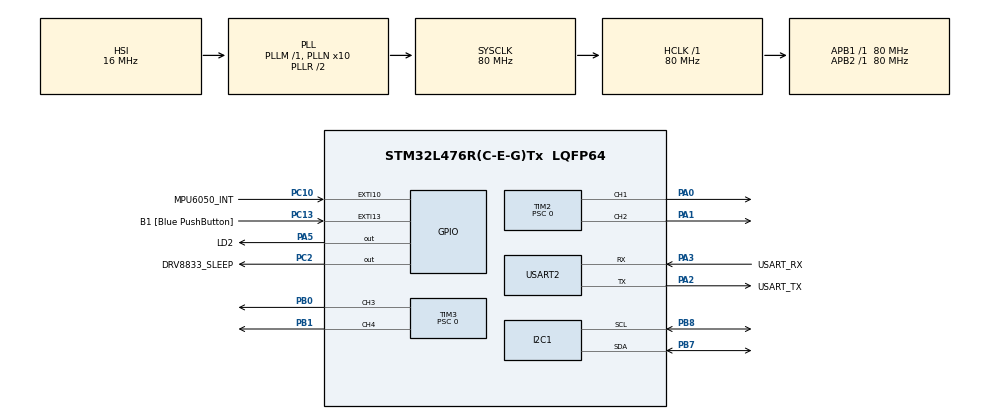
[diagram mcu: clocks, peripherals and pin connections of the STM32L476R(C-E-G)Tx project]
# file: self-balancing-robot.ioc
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FREERTOS.BinarySemaphores01=imuDataReadySem,Dynamic,NULL,Depleted;uartDataReady,Dynamic,NULL,Depleted
FREERTOS.Mutexes01=imuDataMutex,Dynamic,NULL,Available
FREERTOS.Queues01=uartRxQueue,8,uint8_t,0,Dynamic,NULL,NULL
FREERTOS.Tasks01=defaultTask,24,128,StartDefaultTask,Default,NULL,Dynamic,NULL,NULL;imuReadTask,40,512,startIMUReadTask,Default,NULL,Dynamic,NULL,NULL;balanceTask,40,512,selfBalanceTask,Default,NULL,Dynamic,NULL,NULL;coefficientPoll,24,512,coefficientPollingTask,Default,NULL,Dynamic,NULL,NULL
FREERTOS.configCHECK_FOR_STACK_OVERFLOW=2
FREERTOS.configTOTAL_HEAP_SIZE=10240
FREERTOS.configUSE_MALLOC_FAILED_HOOK=1
FREERTOS.configUSE_NEWLIB_REENTRANT=1
I2C1.Timing=0x10D19CE4
Mcu.Family=STM32L4
Mcu.Name=STM32L476R(C-E-G)Tx
Mcu.Package=LQFP64
NVIC.EXTI15_10_IRQn=true\:5\:0\:false\:false\:true\:true\:true\:true\:true
NVIC.PriorityGroup=NVIC_PRIORITYGROUP_4
NVIC.TIM1_UP_TIM16_IRQn=true\:15\:0\:false\:false\:true\:false\:false\:true\:true
NVIC.TimeBase=TIM1_UP_TIM16_IRQn
NVIC.TimeBaseIP=TIM1
NVIC.USART2_IRQn=true\:5\:0\:true\:false\:true\:true\:true\:true\:true
PA0.Signal=S_TIM2_CH1
PA1.Signal=S_TIM2_CH2
PA13\ (JTMS-SWDIO).GPIO_Label=TMS
PA13\ (JTMS-SWDIO).Mode=Serial_Wire
PA13\ (JTMS-SWDIO).Signal=SYS_JTMS-SWDIO
PA14\ (JTCK-SWCLK).GPIO_Label=TCK
PA14\ (JTCK-SWCLK).Mode=Serial_Wire
PA14\ (JTCK-SWCLK).Signal=SYS_JTCK-SWCLK
PA2.GPIO_Label=USART_TX
PA2.GPIO_Mode=GPIO_MODE_AF_PP
PA2.GPIO_PuPd=GPIO_NOPULL
PA2.GPIO_Speed=GPIO_SPEED_FREQ_VERY_HIGH
PA2.Mode=Asynchronous
PA2.Signal=USART2_TX
PA3.GPIO_Label=USART_RX
PA3.GPIO_Mode=GPIO_MODE_AF_PP
PA3.GPIO_PuPd=GPIO_NOPULL
PA3.GPIO_Speed=GPIO_SPEED_FREQ_VERY_HIGH
PA3.Mode=Asynchronous
PA3.Signal=USART2_RX
PA5.GPIO_Label=LD2
PA5.Signal=GPIO_Output
PB0.Signal=S_TIM3_CH3
PB1.Signal=S_TIM3_CH4
PB3\ (JTDO-TRACESWO).GPIO_Label=SWO
PB3\ (JTDO-TRACESWO).Signal=SYS_JTDO-SWO
PB7.GPIO_Pu=GPIO_NOPULL
PB7.GPIO_Speed=GPIO_SPEED_FREQ_MEDIUM
PB7.Mode=I2C
PB7.Signal=I2C1_SDA
PB8.GPIO_Pu=GPIO_NOPULL
PB8.GPIO_Speed=GPIO_SPEED_FREQ_MEDIUM
PB8.Mode=I2C
PB8.Signal=I2C1_SCL
PC10.GPIO_Label=MPU6050_INT
PC10.GPIO_PuPd=GPIO_PULLDOWN
PC10.Signal=GPXTI10
PC13.GPIO_Label=B1 [Blue PushButton]
PC13.GPIO_ModeDefaultEXTI=GPIO_MODE_IT_FALLING
PC13.GPIO_PuPd=GPIO_NOPULL
PC13.Signal=GPXTI13
PC14-OSC32_IN\ (PC14).Mode=LSE-External-Oscillator
PC14-OSC32_IN\ (PC14).Signal=RCC_OSC32_IN
PC15-OSC32_OUT\ (PC15).Mode=LSE-External-Oscillator
PC15-OSC32_OUT\ (PC15).Signal=RCC_OSC32_OUT
PC2.GPIO_Label=DRV8833_SLEEP
PC2.GPIO_PuPd=GPIO_PULLDOWN
PC2.PinState=GPIO_PIN_RESET
PC2.Signal=GPIO_Output
PH0-OSC_IN\ (PH0).Signal=RCC_OSC_IN
PH1-OSC_OUT\ (PH1).Signal=RCC_OSC_OUT
ProjectManager.HeapSize=0x200
ProjectManager.StackSize=0x400
ProjectManager.TargetToolchain=STM32CubeIDE
RCC.ADCFreq_Value=64000000
RCC.AHBFreq_Value=80000000
RCC.APB1Freq_Value=80000000
RCC.APB1TimFreq_Value=80000000
RCC.APB2Freq_Value=80000000
RCC.APB2TimFreq_Value=80000000
RCC.CortexFreq_Value=80000000
RCC.HCLKFreq_Value=80000000
RCC.HSE_VALUE=8000000
RCC.HSI_VALUE=16000000
RCC.MSI_VALUE=4000000
RCC.PLLN=10
RCC.PLLSourceVirtual=RCC_PLLSOURCE_HSI
RCC.PREFETCH_ENABLE=1
RCC.SYSCLKFreq_VALUE=80000000
RCC.SYSCLKSource=RCC_SYSCLKSOURCE_PLLCLK
RCC.USBFreq_Value=64000000
RCC.VCOOutputFreq_Value=160000000
SH.S_TIM2_CH1.0=TIM2_CH1,PWM Generation1 CH1
SH.S_TIM2_CH2.0=TIM2_CH2,PWM Generation2 CH2
SH.S_TIM3_CH3.0=TIM3_CH3,PWM Generation3 CH3
SH.S_TIM3_CH4.0=TIM3_CH4,PWM Generation4 CH4
TIM2.Channel-PWM\ Generation1\ CH1=TIM_CHANNEL_1
TIM2.Channel-PWM\ Generation2\ CH2=TIM_CHANNEL_2
TIM2.Period=3999
TIM2.Prescaler=0
TIM3.Channel-PWM\ Generation3\ CH3=TIM_CHANNEL_3
TIM3.Channel-PWM\ Generation4\ CH4=TIM_CHANNEL_4
TIM3.Period=3999
TIM3.Prescaler=0
USART2.VirtualMode-Asynchronous=VM_ASYNC
VP_FREERTOS_VS_CMSIS_V2.Mode=CMSIS_V2
VP_SYS_VS_tim1.Mode=TIM1
VP_TIM2_VS_ClockSourceINT.Mode=Internal
VP_TIM3_VS_ClockSourceINT.Mode=Internal
board=NUCLEO-L476RG

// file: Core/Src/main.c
/* USER CODE BEGIN Header */
/**
 ******************************************************************************
 * @file           : main.c
 * @brief          : Main program body
 ******************************************************************************
 * @attention
 *
 * Copyright (c) 2025 STMicroelectronics.
 * All rights reserved.
 *
 * This software is licensed under terms that can be found in the LICENSE file
 * in the root directory of this software component.
 * If no LICENSE file comes with this software, it is provided AS-IS.
 *
 * @desc This is a program designed to balance a 2-wheeled robot using a STM32
 * Nucelo board. FreeRTOS is leveraged to efficiently balance the robot by
 * splitting up the tasks into the proirities that follow.
 *
 * HIGH_PIORITY:
 * 	imuDataReadTask: This task is used to read gyroscope and accelerom-
 * 	-meter data in from the MPU6050. This data is then converted into
 * 	proper units, and then combined using a complementary filter for
 * 	reliable and accurate data.
 *
 *	selfBalanceTask: This task uses a PID control loop to convert the
 *	IMU data into a output that will drive the motors. There are three
 *	coefficients that can be used to tweak each subsection of the control
 *	loop function.
 ******************************************************************************
 */

/* USER CODE END Header */
#include "main.h"
#include "cmsis_os.h"

/* USER CODE BEGIN Includes */
#include <stdio.h>
#include <stdlib.h>
#include <string.h>
#include <math.h>
#include <inttypes.h>
#include "queue.h"
/* USER CODE END Includes */

/* USER CODE BEGIN PTD */
typedef struct {
	float accel_pitch;	// holds the accelerometer's derrived pitch
	float gyro_pitch;	// holds the gyroscope's integrated pitch
	float comp_pitch;	// holds the complementary filter's computed pitch
} Pitch_t;

typedef struct {
	TIM_HandleTypeDef *htim;	// pointer to the motor's timer handler struct
	uint8_t channels[2];		// holds both motor's pwm channels
} Motor_t;

typedef enum {
	COMPLETE_SUCCESS = 0,
	IMU_CONFIG_FAILED_WAKE = -100,
	IMU_CONFIG_FAILED_PWR_MGMT_2_READ = -101,
	IMU_CONFIG_FAILED_PWR_MGMT_2_WRITE = -102,
	IMU_CONFIG_FAILED_INTERRUPT_ENABLE = -103,
} Error_code_t;
/* USER CODE END PTD */

/* USER CODE BEGIN PD */
#define I2C_TRIALS 5						// number of attempts to check device readiness
#define MPU6050_Addr (0x68 << 1)			// address of the mpu6050 on the I2C line
#define MPU6050_WAKE 0x00					// mask used to wake the mpu6050 from sleep
#define PWR_MGMT_1_Addr 0x6B				// address of the first power management register of the mpu6050
#define PWR_MGMT_2_Addr 0x6C				// address of the first power management register of the mpu6050
#define INT_ENABLE_Addr 0x38				// address for imu registers that allows enabling of the interrupt pin
#define STANDBY_ACCEL_Y_AXIS (1UL << 4) 	// mask for accelerometer y-axis standby mode bit
#define STANDBY_GYRO_X_AXIS (1UL << 2) 		// mask for gyroscope x-axis standby mode bit
#define STANDBY_GYRO_Z_AXIS (1UL << 0)  	// mask for gyroscope z-axis standby mode bit
#define MPU6050_DATA_READY_Enable 0x01		// ???
#define ACCEL_XOUT_H_Addr 0x3B				// address of the high byte for accelerometer x-axis output
#define ACCEL_XOUT_L_Addr 0x3C				// address of the low byte for accelerometer x-axis output
#define ACCEL_ZOUT_H_Addr 0x3F				// address of the high byte for accelerometer z-axis output
#define ACCEL_ZOUT_L_Addr 0x40				// address of the low byte for accelerometer z-axis output
#define GYRO_YOUT_H_Addr 0x45				// address of the high byte for gyroscope y-axis output
#define GYRO_YOUT_L_Addr 0x46				// address of the high byte for gyroscope y-axis output
#define ACCEL_SENSITIVITY 16384				// sensitivity value used to convert raw IMU data into units
#define GYRO_SENSITIVITY 131				// sensitivity value used to convert raw IMU data into units
#define COMP_FILTER_COEFF 0.99				// coefficient the complementary filter uses to weight its measurment

#define IMU_CALIBRATION_PRE_MSG_DELAY 1000	// delay before calibration message allowing user to get robot into place
#define IMU_CALIBRATION_POST_MSG_DELAY 1000	// delay after calibration message allowing user to read the calibration value

#define PRINT_IMU_CONFIG_ERRORS 1			// prints IMU configuration errors when set to 1
#define PRINT_IMU_CALIBRATION_ERRORS 1		// prints IMU calibration errors when set to 1
#define PRINT_I2C_ERRORS 0					// prints I2C communication info when set to 1
#define PRINT_PID_ERROR 0					// prints PID errors when set to 1

#define PRINT_COMPUTED_PITCHES 0			// prints computed complementary pitches when set to 1
#define IMU_CONFIG_NUM_SAMPLES 100			// number of samples that are to be used to zero out accelerometer pitch
#define NUM_IMU_READ_ATTEMPTS_PER_READ 1	// when our attempt to read from the imu fails, this is the amount of retries before giving up

#define AUTO_RELOAD_REGISTER 4000			// auto reload register value for the pwm channels
#define TICKS_PER_SECOND 1000				// number of clock ticks per second

#define I2C_TIMEOUT_MS 10 					// milliseconds to wait per attempt
#define UART_TIMEOUT_MS HAL_MAX_DELAY 		// milliseconds to wait per uart transmit

#define UART_INTERRUPT_CHAR_SENDBACK_TIMEOUT 10

#define COEFFICIENT_PERCISION 3

#define D_OUT_SCALER 100
/* USER CODE END PD */

/* USER CODE BEGIN PM */
#define FATAL_ERROR(code) do { \
    g_error_file = __FILE__; \
    g_error_line = __LINE__; \
    g_error_code = (code);   \
    Error_Handler();         \
} while(0)
/* USER CODE END PM */

I2C_HandleTypeDef hi2c1;

TIM_HandleTypeDef htim2;
TIM_HandleTypeDef htim3;

UART_HandleTypeDef huart2;

/* Definitions for defaultTask */
osThreadId_t defaultTaskHandle;
const osThreadAttr_t defaultTask_attributes = { .name = "defaultTask", .stack_size = 128 * 4,
		.priority = (osPriority_t) osPriorityNormal, };
/* Definitions for imuReadTask */
osThreadId_t imuReadTaskHandle;
const osThreadAttr_t imuReadTask_attributes = { .name = "imuReadTask", .stack_size = 512 * 4,
		.priority = (osPriority_t) osPriorityHigh, };
/* Definitions for balanceTask */
osThreadId_t balanceTaskHandle;
const osThreadAttr_t balanceTask_attributes = { .name = "balanceTask", .stack_size = 512 * 4,
		.priority = (osPriority_t) osPriorityHigh, };
/* Definitions for coefficientPoll */
osThreadId_t coefficientPollHandle;
const osThreadAttr_t coefficientPoll_attributes = { .name = "coefficientPoll",
		.stack_size = 512 * 4, .priority = (osPriority_t) osPriorityNormal, };
/* Definitions for uartRxQueue */
osMessageQueueId_t uartRxQueueHandle;
const osMessageQueueAttr_t uartRxQueue_attributes = { .name = "uartRxQueue" };
/* Definitions for imuDataMutex */
osMutexId_t imuDataMutexHandle;
const osMutexAttr_t imuDataMutex_attributes = { .name = "imuDataMutex" };
/* Definitions for imuDataReadySem */
osSemaphoreId_t imuDataReadySemHandle;
const osSemaphoreAttr_t imuDataReadySem_attributes = { .name = "imuDataReadySem" };
/* Definitions for uartDataReady */
osSemaphoreId_t uartDataReadyHandle;
const osSemaphoreAttr_t uartDataReady_attributes = { .name = "uartDataReady" };
/* USER CODE BEGIN PV */
volatile const char *g_error_file = NULL;
volatile int g_error_line = 0;
volatile int g_error_code = 0;

volatile Pitch_t pitches = { .accel_pitch = 0.0, .gyro_pitch = 0.0, .comp_pitch = 0.0 };
float initial_accel_pitch_offset_deg = 0.0f;

Motor_t left_motor;
Motor_t right_motor;

uint8_t uart_recieved_byte;
uint16_t uart_recieved_byte_size = sizeof(uart_recieved_byte);

uint8_t uart_rx_buffer_index = 0;
char uart_rx_buffer[6]; // [0] type | [1:3] value | [4] carriage return | [5] null-terminator
uint16_t uart_rx_buffer_size = sizeof(uart_rx_buffer) / sizeof(uart_rx_buffer[0]);

volatile float kp = 0.20;
volatile float ki = 1.00;
volatile float kd = 0.30;
/* USER CODE END PV */

void SystemClock_Config(void);
static void MX_GPIO_Init(void);
static void MX_USART2_UART_Init(void);
static void MX_I2C1_Init(void);
static void MX_TIM2_Init(void);
static void MX_TIM3_Init(void);
void StartDefaultTask(void *argument);
void startIMUReadTask(void *argument);
void selfBalanceTask(void *argument);
void coefficientPollingTask(void *argument);

/* USER CODE BEGIN PFP */
// --- IMU Functions ---
static void configure_imu_power(void);
static void calibrate_imu(void);
static void process_imu_data(const uint8_t *data_buffer, Pitch_t *pitch_buffer, float dt);
static void update_global_imu_data(Pitch_t *pitch_buffer);
static void print_i2c_read_error(void);

// --- Motor Driver Functions ---
static void start_pwm_channels(void);
static void set_motor_duty_cycle(Motor_t *motor, float speed_control);

// --- Helper Functions ---
static void uart_print(char *buffer);
static void resetI2C(void);
char* HAL_StatusToString(HAL_StatusTypeDef status);
char* HAL_I2C_ErrorToString(I2C_HandleTypeDef* i2c_handle);
/* USER CODE END PFP */

int main(void) {

	/* MCU Configuration--------------------------------------------------------*/

	/* Reset of all peripherals, Initializes the Flash interface and the Systick. */
	HAL_Init();

	/* Configure the system clock */
	SystemClock_Config();

	/* Initialize all configured peripherals */
	MX_GPIO_Init();
	MX_USART2_UART_Init();
	MX_I2C1_Init();
	MX_TIM2_Init();
	MX_TIM3_Init();
	/* USER CODE BEGIN 2 */
	char nl[] = "\r\n";
	uart_print(nl); // quick newline print to seperate console logs

	// Configure the Motors
	left_motor.htim = &htim2;
	left_motor.channels[0] = TIM_CHANNEL_1;
	left_motor.channels[1] = TIM_CHANNEL_2;
	right_motor.htim = &htim3;
	right_motor.channels[0] = TIM_CHANNEL_3;
	right_motor.channels[1] = TIM_CHANNEL_4;

	HAL_GPIO_WritePin(DRV8833_SLEEP_GPIO_Port, DRV8833_SLEEP_Pin, GPIO_PIN_RESET); // make sure motor is in low power (steadystate)
	start_pwm_channels();
	HAL_GPIO_WritePin(DRV8833_SLEEP_GPIO_Port, DRV8833_SLEEP_Pin, GPIO_PIN_SET); // take motor driver out of low power

	// Prepare imu
	configure_imu_power(); // configure the imu for i2c communication
	calibrate_imu(); // zero out the accelerometer's pitch calculation

	// Start listening for user's input to tweak variables during runtime
	if (HAL_UART_Receive_IT(&huart2, &uart_recieved_byte, 1) != HAL_OK) {
		char error_buffer[] = "[WARNING]: UART interrupt service is not functioning\r\n";
		uart_print(error_buffer);
	}
	/* USER CODE END 2 */

	/* Init scheduler */
	osKernelInitialize();
	/* Create the mutex(es) */
	/* creation of imuDataMutex */
	imuDataMutexHandle = osMutexNew(&imuDataMutex_attributes);

	/* Create the semaphores(s) */
	/* creation of imuDataReadySem */
	imuDataReadySemHandle = osSemaphoreNew(1, 0, &imuDataReadySem_attributes);

	/* creation of uartDataReady */
	uartDataReadyHandle = osSemaphoreNew(1, 0, &uartDataReady_attributes);

	/* Create the queue(s) */
	/* creation of uartRxQueue */
	uartRxQueueHandle = osMessageQueueNew(8, sizeof(uint8_t), &uartRxQueue_attributes);

	/* Create the thread(s) */
	/* creation of defaultTask */
	defaultTaskHandle = osThreadNew(StartDefaultTask, NULL, &defaultTask_attributes);

	/* creation of imuReadTask */
	imuReadTaskHandle = osThreadNew(startIMUReadTask, NULL, &imuReadTask_attributes);

	/* creation of balanceTask */
	balanceTaskHandle = osThreadNew(selfBalanceTask, NULL, &balanceTask_attributes);

	/* creation of coefficientPoll */
	coefficientPollHandle = osThreadNew(coefficientPollingTask, NULL, &coefficientPoll_attributes);

	/* Start scheduler */
	osKernelStart();

	/* We should never get here as control is now taken by the scheduler */

	/* Infinite loop */
	while (1) {

	}
}

void SystemClock_Config(void) {
	RCC_OscInitTypeDef RCC_OscInitStruct = { 0 };
	RCC_ClkInitTypeDef RCC_ClkInitStruct = { 0 };

	/** Configure the main internal regulator output voltage
	 */
	if (HAL_PWREx_ControlVoltageScaling(PWR_REGULATOR_VOLTAGE_SCALE1) != HAL_OK) {
		Error_Handler();
	}

	/** Initializes the RCC Oscillators according to the specified parameters
	 * in the RCC_OscInitTypeDef structure.
	 */
	RCC_OscInitStruct.OscillatorType = RCC_OSCILLATORTYPE_HSI;
	RCC_OscInitStruct.HSIState = RCC_HSI_ON;
	RCC_OscInitStruct.HSICalibrationValue = RCC_HSICALIBRATION_DEFAULT;
	RCC_OscInitStruct.PLL.PLLState = RCC_PLL_ON;
	RCC_OscInitStruct.PLL.PLLSource = RCC_PLLSOURCE_HSI;
	RCC_OscInitStruct.PLL.PLLM = 1;
	RCC_OscInitStruct.PLL.PLLN = 10;
	RCC_OscInitStruct.PLL.PLLP = RCC_PLLP_DIV7;
	RCC_OscInitStruct.PLL.PLLQ = RCC_PLLQ_DIV2;
	RCC_OscInitStruct.PLL.PLLR = RCC_PLLR_DIV2;
	if (HAL_RCC_OscConfig(&RCC_OscInitStruct) != HAL_OK) {
		Error_Handler();
	}

	/** Initializes the CPU, AHB and APB buses clocks
	 */
	RCC_ClkInitStruct.ClockType = RCC_CLOCKTYPE_HCLK | RCC_CLOCKTYPE_SYSCLK | RCC_CLOCKTYPE_PCLK1
			| RCC_CLOCKTYPE_PCLK2;
	RCC_ClkInitStruct.SYSCLKSource = RCC_SYSCLKSOURCE_PLLCLK;
	RCC_ClkInitStruct.AHBCLKDivider = RCC_SYSCLK_DIV1;
	RCC_ClkInitStruct.APB1CLKDivider = RCC_HCLK_DIV1;
	RCC_ClkInitStruct.APB2CLKDivider = RCC_HCLK_DIV1;

	if (HAL_RCC_ClockConfig(&RCC_ClkInitStruct, FLASH_LATENCY_4) != HAL_OK) {
		Error_Handler();
	}
}

static void MX_I2C1_Init(void) {

	hi2c1.Instance = I2C1;
	hi2c1.Init.Timing = 0x10D19CE4;
	hi2c1.Init.OwnAddress1 = 0;
	hi2c1.Init.AddressingMode = I2C_ADDRESSINGMODE_7BIT;
	hi2c1.Init.DualAddressMode = I2C_DUALADDRESS_DISABLE;
	hi2c1.Init.OwnAddress2 = 0;
	hi2c1.Init.OwnAddress2Masks = I2C_OA2_NOMASK;
	hi2c1.Init.GeneralCallMode = I2C_GENERALCALL_DISABLE;
	hi2c1.Init.NoStretchMode = I2C_NOSTRETCH_DISABLE;
	if (HAL_I2C_Init(&hi2c1) != HAL_OK) {
		Error_Handler();
	}

	/** Configure Analogue filter
	 */
	if (HAL_I2CEx_ConfigAnalogFilter(&hi2c1, I2C_ANALOGFILTER_ENABLE) != HAL_OK) {
		Error_Handler();
	}

	/** Configure Digital filter
	 */
	if (HAL_I2CEx_ConfigDigitalFilter(&hi2c1, 0) != HAL_OK) {
		Error_Handler();
	}

}

static void MX_TIM2_Init(void) {

	TIM_ClockConfigTypeDef sClockSourceConfig = { 0 };
	TIM_MasterConfigTypeDef sMasterConfig = { 0 };
	TIM_OC_InitTypeDef sConfigOC = { 0 };

	htim2.Instance = TIM2;
	htim2.Init.Prescaler = 0;
	htim2.Init.CounterMode = TIM_COUNTERMODE_UP;
	htim2.Init.Period = 3999;
	htim2.Init.ClockDivision = TIM_CLOCKDIVISION_DIV1;
	htim2.Init.AutoReloadPreload = TIM_AUTORELOAD_PRELOAD_DISABLE;
	if (HAL_TIM_Base_Init(&htim2) != HAL_OK) {
		Error_Handler();
	}
	sClockSourceConfig.ClockSource = TIM_CLOCKSOURCE_INTERNAL;
	if (HAL_TIM_ConfigClockSource(&htim2, &sClockSourceConfig) != HAL_OK) {
		Error_Handler();
	}
	if (HAL_TIM_PWM_Init(&htim2) != HAL_OK) {
		Error_Handler();
	}
	sMasterConfig.MasterOutputTrigger = TIM_TRGO_RESET;
	sMasterConfig.MasterSlaveMode = TIM_MASTERSLAVEMODE_DISABLE;
	if (HAL_TIMEx_MasterConfigSynchronization(&htim2, &sMasterConfig) != HAL_OK) {
		Error_Handler();
	}
	sConfigOC.OCMode = TIM_OCMODE_PWM1;
	sConfigOC.Pulse = 0;
	sConfigOC.OCPolarity = TIM_OCPOLARITY_HIGH;
	sConfigOC.OCFastMode = TIM_OCFAST_DISABLE;
	if (HAL_TIM_PWM_ConfigChannel(&htim2, &sConfigOC, TIM_CHANNEL_1) != HAL_OK) {
		Error_Handler();
	}
	if (HAL_TIM_PWM_ConfigChannel(&htim2, &sConfigOC, TIM_CHANNEL_2) != HAL_OK) {
		Error_Handler();
	}
	HAL_TIM_MspPostInit(&htim2);

}

static void MX_TIM3_Init(void) {

	TIM_ClockConfigTypeDef sClockSourceConfig = { 0 };
	TIM_MasterConfigTypeDef sMasterConfig = { 0 };
	TIM_OC_InitTypeDef sConfigOC = { 0 };

	htim3.Instance = TIM3;
	htim3.Init.Prescaler = 0;
	htim3.Init.CounterMode = TIM_COUNTERMODE_UP;
	htim3.Init.Period = 3999;
	htim3.Init.ClockDivision = TIM_CLOCKDIVISION_DIV1;
	htim3.Init.AutoReloadPreload = TIM_AUTORELOAD_PRELOAD_DISABLE;
	if (HAL_TIM_Base_Init(&htim3) != HAL_OK) {
		Error_Handler();
	}
	sClockSourceConfig.ClockSource = TIM_CLOCKSOURCE_INTERNAL;
	if (HAL_TIM_ConfigClockSource(&htim3, &sClockSourceConfig) != HAL_OK) {
		Error_Handler();
	}
	if (HAL_TIM_PWM_Init(&htim3) != HAL_OK) {
		Error_Handler();
	}
	sMasterConfig.MasterOutputTrigger = TIM_TRGO_RESET;
	sMasterConfig.MasterSlaveMode = TIM_MASTERSLAVEMODE_DISABLE;
	if (HAL_TIMEx_MasterConfigSynchronization(&htim3, &sMasterConfig) != HAL_OK) {
		Error_Handler();
	}
	sConfigOC.OCMode = TIM_OCMODE_PWM1;
	sConfigOC.Pulse = 0;
	sConfigOC.OCPolarity = TIM_OCPOLARITY_HIGH;
	sConfigOC.OCFastMode = TIM_OCFAST_DISABLE;
	if (HAL_TIM_PWM_ConfigChannel(&htim3, &sConfigOC, TIM_CHANNEL_3) != HAL_OK) {
		Error_Handler();
	}
	if (HAL_TIM_PWM_ConfigChannel(&htim3, &sConfigOC, TIM_CHANNEL_4) != HAL_OK) {
		Error_Handler();
	}
	HAL_TIM_MspPostInit(&htim3);

}

static void MX_USART2_UART_Init(void) {

	huart2.Instance = USART2;
	huart2.Init.BaudRate = 115200;
	huart2.Init.WordLength = UART_WORDLENGTH_8B;
	huart2.Init.StopBits = UART_STOPBITS_1;
	huart2.Init.Parity = UART_PARITY_NONE;
	huart2.Init.Mode = UART_MODE_TX_RX;
	huart2.Init.HwFlowCtl = UART_HWCONTROL_NONE;
	huart2.Init.OverSampling = UART_OVERSAMPLING_16;
	huart2.Init.OneBitSampling = UART_ONE_BIT_SAMPLE_DISABLE;
	huart2.AdvancedInit.AdvFeatureInit = UART_ADVFEATURE_NO_INIT;
	if (HAL_UART_Init(&huart2) != HAL_OK) {
		Error_Handler();
	}

}

static void MX_GPIO_Init(void) {
	GPIO_InitTypeDef GPIO_InitStruct = { 0 };

	/* GPIO Ports Clock Enable */
	__HAL_RCC_GPIOC_CLK_ENABLE();
	__HAL_RCC_GPIOH_CLK_ENABLE();
	__HAL_RCC_GPIOA_CLK_ENABLE();
	__HAL_RCC_GPIOB_CLK_ENABLE();

	/*Configure GPIO pin Output Level */
	HAL_GPIO_WritePin(DRV8833_SLEEP_GPIO_Port, DRV8833_SLEEP_Pin, GPIO_PIN_RESET);

	/*Configure GPIO pin Output Level */
	HAL_GPIO_WritePin(LD2_GPIO_Port, LD2_Pin, GPIO_PIN_RESET);

	/*Configure GPIO pin : B1_Pin */
	GPIO_InitStruct.Pin = B1_Pin;
	GPIO_InitStruct.Mode = GPIO_MODE_IT_FALLING;
	GPIO_InitStruct.Pull = GPIO_NOPULL;
	HAL_GPIO_Init(B1_GPIO_Port, &GPIO_InitStruct);

	/*Configure GPIO pin : DRV8833_SLEEP_Pin */
	GPIO_InitStruct.Pin = DRV8833_SLEEP_Pin;
	GPIO_InitStruct.Mode = GPIO_MODE_OUTPUT_PP;
	GPIO_InitStruct.Pull = GPIO_PULLDOWN;
	GPIO_InitStruct.Speed = GPIO_SPEED_FREQ_LOW;
	HAL_GPIO_Init(DRV8833_SLEEP_GPIO_Port, &GPIO_InitStruct);

	/*Configure GPIO pin : LD2_Pin */
	GPIO_InitStruct.Pin = LD2_Pin;
	GPIO_InitStruct.Mode = GPIO_MODE_OUTPUT_PP;
	GPIO_InitStruct.Pull = GPIO_NOPULL;
	GPIO_InitStruct.Speed = GPIO_SPEED_FREQ_LOW;
	HAL_GPIO_Init(LD2_GPIO_Port, &GPIO_InitStruct);

	/*Configure GPIO pin : MPU6050_INT_Pin */
	GPIO_InitStruct.Pin = MPU6050_INT_Pin;
	GPIO_InitStruct.Mode = GPIO_MODE_IT_RISING;
	GPIO_InitStruct.Pull = GPIO_PULLDOWN;
	HAL_GPIO_Init(MPU6050_INT_GPIO_Port, &GPIO_InitStruct);

	/* EXTI interrupt init*/
	HAL_NVIC_SetPriority(EXTI15_10_IRQn, 5, 0);
	HAL_NVIC_EnableIRQ(EXTI15_10_IRQn);

}

/* USER CODE BEGIN 4 */
/*===============================================================================================*/
// IMU Functions
/*===============================================================================================*/

/**
 * @brief Prepares I2C communication and configures the MPU6050 to begin comms.
 */
static void configure_imu_power(void) {
	// Wait for the IMU to be ready
	while (HAL_I2C_IsDeviceReady(&hi2c1, MPU6050_Addr, I2C_TRIALS, I2C_TIMEOUT_MS) != HAL_OK)
		;
	// we cannot proceed until this device is ready

	uint8_t data_byte;

	// Wake up the MPU6050 from sleep mode
	data_byte = MPU6050_WAKE; // we will clear the sleep bit
	while (HAL_I2C_Mem_Write(&hi2c1, MPU6050_Addr, PWR_MGMT_1_Addr, I2C_MEMADD_SIZE_8BIT,
			&data_byte, 1, I2C_TIMEOUT_MS) != HAL_OK) {
		FATAL_ERROR(IMU_CONFIG_FAILED_WAKE);
	}

	// Wait a few ms for the device to stabilize after power changes
	HAL_Delay(10);

	// Set unused IMU peripherals into standby mode
	// Read the current register value to not overwrite other settings
	while (HAL_I2C_Mem_Read(&hi2c1, MPU6050_Addr, PWR_MGMT_2_Addr, I2C_MEMADD_SIZE_8BIT, &data_byte,
			1, I2C_TIMEOUT_MS) != HAL_OK) {
		FATAL_ERROR(IMU_CONFIG_FAILED_PWR_MGMT_2_READ);
	}

	data_byte |= (STANDBY_ACCEL_Y_AXIS | STANDBY_GYRO_X_AXIS | STANDBY_GYRO_Z_AXIS);

	// Write the modified value back to the register
	while (HAL_I2C_Mem_Write(&hi2c1, MPU6050_Addr, PWR_MGMT_2_Addr, I2C_MEMADD_SIZE_8BIT,
			&data_byte, 1,
			I2C_TIMEOUT_MS) != HAL_OK) {
		FATAL_ERROR(IMU_CONFIG_FAILED_PWR_MGMT_2_WRITE);
	}

	// Enable the Data Ready Interrupt on the MPU6050
	data_byte = MPU6050_DATA_READY_Enable; // sets the DATA_RDY_EN bit
	while (HAL_I2C_Mem_Write(&hi2c1, MPU6050_Addr, INT_ENABLE_Addr, I2C_MEMADD_SIZE_8BIT,
			&data_byte, 1,
			I2C_TIMEOUT_MS) != HAL_OK) {
		FATAL_ERROR(IMU_CONFIG_FAILED_INTERRUPT_ENABLE);
	}
}

/**
 * @brief Establishes a baseline for the IMU to disregard initial pitch.
 */
static void calibrate_imu(void) {
	uint8_t rx_buffer[14];
	float sum_accel_x_g_force = 0;
	float sum_accel_z_g_force = 0;

	char calibration_warning[] = "Calibrating... Keep robot Level!\r\n";
	uart_print(calibration_warning);
	HAL_Delay(IMU_CALIBRATION_PRE_MSG_DELAY);

	// Make sure MPU is ready before starting
	while (HAL_I2C_IsDeviceReady(&hi2c1, MPU6050_Addr, I2C_TRIALS, I2C_TIMEOUT_MS) != HAL_OK) {
		// wait for device to be ready
	}

	// Perform a number of reads to get a baseline measurment for zeroing out the accelerometer pitch
	HAL_StatusTypeDef status;
	int attempts;
	for (int i = 0; i < IMU_CONFIG_NUM_SAMPLES; i++) {
		// We need to make sure we get a valid read for every sample to ensure our zeroing is accurate
		attempts = 0;
		while ((status = HAL_I2C_Mem_Read(&hi2c1, MPU6050_Addr, ACCEL_XOUT_H_Addr, I2C_MEMADD_SIZE_8BIT,
				rx_buffer, 14, I2C_TIMEOUT_MS)) != HAL_OK && attempts < NUM_IMU_READ_ATTEMPTS_PER_READ) {
			// We will attempt to read the IMU, and if it doesnt give us a valid read after x, attemps reset the I2C bus and try again
			if (PRINT_IMU_CALIBRATION_ERRORS) {
				char error_buffer[128];
				sprintf(error_buffer, "Failed to read from IMU during calibration [%s]\r\n", HAL_StatusToString(status));
				uart_print(error_buffer);

				if (status == HAL_ERROR) {
					// If the status is an I2C error, print info
					uart_print(HAL_I2C_ErrorToString(&hi2c1));
				}
			}

			attempts++;
			if (attempts >= NUM_IMU_READ_ATTEMPTS_PER_READ) {
				resetI2C();
				attempts = 0;
			}

		}

		// Since read was successful, decode it
		int16_t raw_accel_x = (int16_t) (rx_buffer[0] << 8 | rx_buffer[1]);
		int16_t raw_accel_z = (int16_t) (rx_buffer[4] << 8 | rx_buffer[5]);

		float adjusted_accel_x = ((float) raw_accel_x / ACCEL_SENSITIVITY);
		float adjusted_accel_z = ((float) raw_accel_z / ACCEL_SENSITIVITY);

		sum_accel_x_g_force += adjusted_accel_x;
		sum_accel_z_g_force += adjusted_accel_z;
	}

	// Calculate the average offset
	float avg_accel_x_g_force = sum_accel_x_g_force / IMU_CONFIG_NUM_SAMPLES;
	float avg_accel_z_g_force = sum_accel_z_g_force / IMU_CONFIG_NUM_SAMPLES;

	// Calculate the initial angle from the averages and store it
	initial_accel_pitch_offset_deg = atan2(avg_accel_x_g_force, avg_accel_z_g_force) * 180.0 / M_PI;

	char calibration_complete[128];
	sprintf(calibration_complete, "Calibration complete! Offset Angle: %f\r\n",
			initial_accel_pitch_offset_deg);
	uart_print(calibration_complete);

	HAL_Delay(IMU_CALIBRATION_POST_MSG_DELAY);
}

/**
 * @brief Converts raw IMU data into the process pitch values for the accelerometer, gyroscope, and complementary filter
 * @param const uint8_t* data_buffer - Buffer that contains the raw data read from the I2C channel
 * @param Pitch_t* pitch_buffer - Buffer to store the computed pitches in for return
 * @param float dt - Change in time between the last data read and the current
 */
static void process_imu_data(const uint8_t *data_buffer, Pitch_t *pitch_buffer, float dt) {
	// Combine high and low bytes
	int16_t raw_accel_x = (int16_t) (data_buffer[0] << 8 | data_buffer[1]);
	int16_t raw_accel_z = (int16_t) (data_buffer[4] << 8 | data_buffer[5]);
	int16_t raw_gyro_y = (int16_t) (data_buffer[10] << 8 | data_buffer[11]);

	float accel_x = ((float) raw_accel_x / ACCEL_SENSITIVITY);
	float accel_z = ((float) raw_accel_z / ACCEL_SENSITIVITY);
	float gyro_y = ((float) raw_gyro_y / GYRO_SENSITIVITY);

	float absolute_accel_pitch_deg = atan2(accel_x, accel_z) * 180.0 / M_PI;
	float relative_accel_pitch_deg = absolute_accel_pitch_deg - initial_accel_pitch_offset_deg;

	pitch_buffer->accel_pitch = relative_accel_pitch_deg;
	pitch_buffer->gyro_pitch = (gyro_y * dt);
	osMutexAcquire(imuDataMutexHandle, osWaitForever);
	pitch_buffer->comp_pitch = COMP_FILTER_COEFF * (pitches.comp_pitch - pitch_buffer->gyro_pitch)
			+ (1.0 - COMP_FILTER_COEFF) * pitch_buffer->accel_pitch;
	osMutexRelease(imuDataMutexHandle);
}

/**
 * @brief Updates the global references of the objects transform and pitches
 * @param Pitch_t* pitch_buffer - Buffer that contains the computed pitches to write to the gloabal reference
 */
static void update_global_imu_data(Pitch_t *pitch_buffer) {
	osMutexAcquire(imuDataMutexHandle, osWaitForever);

	// Update estimated pitch information
	pitches.accel_pitch = pitch_buffer->accel_pitch;
	pitches.gyro_pitch -= pitch_buffer->gyro_pitch;
	pitches.comp_pitch = pitch_buffer->comp_pitch;
	osMutexRelease(imuDataMutexHandle);

	if (PRINT_COMPUTED_PITCHES) {
		char uartBuffer[128];
		sprintf(uartBuffer, "accel-pitch: %f\tgyro-pitch: %f\tcomp-pitch: %f\r\n",
				pitches.accel_pitch, pitches.gyro_pitch, pitches.comp_pitch);
		uart_print(uartBuffer);
	}
}

/**
 * @brief Prints a descriptive message to UART based on the I2C error code
 */
static void print_i2c_read_error(void) {
	char errorBuffer[128];
	uint32_t i2c_error = HAL_I2C_GetError(&hi2c1);

	if (i2c_error & HAL_I2C_ERROR_BERR) {
		sprintf(errorBuffer,
				"MPU6050 Read Error: Bus Error (BERR). Check wiring/signal integrity.\r\n");
	} else if (i2c_error & HAL_I2C_ERROR_ARLO) {
		sprintf(errorBuffer,
				"MPU6050 Read Error: Arbitration Lost (ARLO). Check for noise or other masters.\r\n");
	} else if (i2c_error & HAL_I2C_ERROR_AF) {
		sprintf(errorBuffer,
				"MPU6050 Read Error: Acknowledge Failure (AF/NACK). Sensor may be busy or disconnected.\r\n");
	} else if (i2c_error & HAL_I2C_ERROR_OVR) {
		sprintf(errorBuffer, "MPU6050 Read Error: Overrun/Underrun (OVR).\r\n");
	} else if (i2c_error & HAL_I2C_ERROR_TIMEOUT) {
		sprintf(errorBuffer, "MPU6050 Read Error: Timeout occurred. Check bus activity.\r\n");
	} else if (i2c_error & HAL_I2C_ERROR_DMA) {
		sprintf(errorBuffer, "MPU6050 Read Error: DMA transfer error.\r\n");
	} else {
		sprintf(errorBuffer, "MPU6050 Read Error: Unknown I2C Error. Code: 0x%lX\r\n", i2c_error);
	}
	uart_print(errorBuffer);
}

/*===============================================================================================*/
// Motor Driver Functions
/*===============================================================================================*/

/**
 * @brief Begins the timer pwm channels and puts them in a stopped position
 */
static void start_pwm_channels(void) {
	// Begin the PWM
	HAL_TIM_PWM_Start(&htim2, TIM_CHANNEL_1);
	HAL_TIM_PWM_Start(&htim2, TIM_CHANNEL_2);
	HAL_TIM_PWM_Start(&htim3, TIM_CHANNEL_3);
	HAL_TIM_PWM_Start(&htim3, TIM_CHANNEL_4);

	// Default motors with no movement
	__HAL_TIM_SET_COMPARE(&htim2, TIM_CHANNEL_1, 0);
	__HAL_TIM_SET_COMPARE(&htim2, TIM_CHANNEL_2, 0);
	__HAL_TIM_SET_COMPARE(&htim3, TIM_CHANNEL_3, 0);
	__HAL_TIM_SET_COMPARE(&htim3, TIM_CHANNEL_4, 0);
}

/**
 * @brief Sets a motor's speed and direction.
 * @param Motor_t motor : Motor structure to be driven.
 * @param uint8_t drive_channel : Indicates which channel to use PWM on -- channel 1, 2, or 0 if neither needs pwm.
 * @param float duty_coeff : The fraction of power to drive the motor. *TODO* figure out margin of accuracy
 */
static void set_motor_duty_cycle(Motor_t *motor, float speed_control) {
	// Clamp the speed
	if (speed_control > 1.0f) {
		speed_control = 1.0f;
	}
	if (speed_control < -1.0f) {
		speed_control = -1.0f;
	}

	uint16_t crr = fabsf(AUTO_RELOAD_REGISTER * speed_control);
	// uint16_t crr = AUTO_RELOAD_REGISTER/2 + fabsf(AUTO_RELOAD_REGISTER/2 * speed_control);

	if (speed_control > 0) {
		__HAL_TIM_SET_COMPARE(motor->htim, motor->channels[0], 0);
		__HAL_TIM_SET_COMPARE(motor->htim, motor->channels[1], crr);
	} else if (speed_control < 0) {
		__HAL_TIM_SET_COMPARE(motor->htim, motor->channels[0], crr);
		__HAL_TIM_SET_COMPARE(motor->htim, motor->channels[1], 0);
	} else {
		__HAL_TIM_SET_COMPARE(motor->htim, motor->channels[0], 0);
		__HAL_TIM_SET_COMPARE(motor->htim, motor->channels[1], 0);
	}
}

/*===============================================================================================*/
// Hardware Level Interrupts
/*===============================================================================================*/

/**
 * @brief Callback function for when there is a hardware level interrupt on the ??? line
 */
void HAL_GPIO_EXTI_Callback(uint16_t GPIO_Pin) {
	// Check if the interrupt came from the IMU's interrupt pin
	if (GPIO_Pin == MPU6050_INT_Pin) {
		osSemaphoreRelease(imuDataReadySemHandle);
	}
}

/**
 * @brief Callback function when data is asyncronously detected on the UART2 line
 */
void HAL_UART_RxCpltCallback(UART_HandleTypeDef *huart) {
	if (huart->Instance != USART2)
		return;

	osMessageQueuePut(uartRxQueueHandle, &uart_recieved_byte, 0, 0);
	HAL_UART_Receive_IT(&huart2, &uart_recieved_byte, 1);
}

/*===============================================================================================*/
// Helper Functions
/*===============================================================================================*/

/**
 * @brief Prints a character buffer over the uart communication channel
 * @param char* buffer - Buffer to be transmitted over the UART line
 */
static void uart_print(char *buffer) {
	HAL_UART_Transmit(&huart2, (uint8_t*) buffer, strlen(buffer), UART_TIMEOUT_MS);
}

/**
 * @brief TODO
 */
static void resetI2C(void) {
	HAL_I2C_DeInit(&hi2c1);
	HAL_I2C_Init(&hi2c1);
	HAL_I2CEx_ConfigAnalogFilter(&hi2c1, I2C_ANALOGFILTER_ENABLE);
	HAL_I2CEx_ConfigDigitalFilter(&hi2c1, 0);
}

char* HAL_StatusToString(HAL_StatusTypeDef status) {
    switch (status) {
        case HAL_OK:
            return "HAL_OK";
        case HAL_ERROR:
            return "HAL_ERROR";
        case HAL_BUSY:
            return "HAL_BUSY";
        case HAL_TIMEOUT:
            return "HAL_TIMEOUT";
        default:
            return "UNKNOWN_STATUS";
    }
}

char* HAL_I2C_ErrorToString(I2C_HandleTypeDef* i2c_handle) {
	uint32_t error = HAL_I2C_GetError(i2c_handle);

	if (error & HAL_I2C_ERROR_BERR) {
		return "--> Specific Error: Bus Error (BERR)\r\n";
	}
	if (error & HAL_I2C_ERROR_ARLO) {
		return "--> Specific Error: Arbitration Lost (ARLO)\r\n";
	}
	if (error & HAL_I2C_ERROR_AF) {
		return "--> Specific Error: Acknowledge Failure (AF)\r\n";
	}
	if (error & HAL_I2C_ERROR_OVR) {
		return "--> Specific Error: Overrun/Underrun (OVR)\r\n";
	}
	else {
		return "--> Unknown Error: No information can be provided (N/A)\r\n";
	}
}

/*===============================================================================================*/
/* USER CODE END 4 */

/* USER CODE BEGIN Header_StartDefaultTask */
/**
 * @brief  Func tion implementing the defaultTask thread.
 * @param  argument: Not used
 * @retval None
 */
/* USER CODE END Header_StartDefaultTask */
void StartDefaultTask(void *argument) {
	for (;;) {
		osDelay(1);
	}
}

void startIMUReadTask(void *argument) {
	/* USER CODE BEGIN startIMUReadTask */
	uint32_t last_tick = osKernelGetTickCount(); // initialize starting tick

	/* Infinite loop */
	for (;;) {
		// Wait for interrupt pin to signal new data is available
		osSemaphoreAcquire(imuDataReadySemHandle, osWaitForever);

		// Keep track of the system tick so we can integrate gyro rotation
		uint32_t current_tick = osKernelGetTickCount();
		float dt = (float) (current_tick - last_tick) / (float) TICKS_PER_SECOND;
		last_tick = current_tick;

		// Read the accelerometer and gyroscope data into a buffer
		HAL_StatusTypeDef status = HAL_OK;
		uint8_t rx_buffer[14];
		for (uint8_t attempts = 0; attempts < NUM_IMU_READ_ATTEMPTS_PER_READ; attempts++) {
			status = HAL_I2C_Mem_Read(&hi2c1, MPU6050_Addr, ACCEL_XOUT_H_Addr, I2C_MEMADD_SIZE_8BIT,
					rx_buffer, 14, I2C_TIMEOUT_MS);
			if (status == HAL_OK)
				break;
		}

		if (status != HAL_OK) {
			// Attempt to recover the I2C bus by re-initializing it
			resetI2C();

			if (PRINT_I2C_ERRORS) {
				print_i2c_read_error();
			}
		}

		Pitch_t pitch_buffer;
		process_imu_data(rx_buffer, &pitch_buffer, dt);
		update_global_imu_data(&pitch_buffer);

		osDelay(10); // short wait between reads
	}
	/* USER CODE END startIMUReadTask */
}

void selfBalanceTask(void *argument) {
	/* USER CODE BEGIN selfBalanceTask */
	uint32_t last_tick = osKernelGetTickCount(); // initialize starting tick
	float integralSum = 0.0;
	float prev_error = 0.0;

	float d_out_filtered_prev = 0.0; // Buffer for previous error of d_output's low-pass filter
	float prev_bias = 0.8;

	/* Infinite loop */
	for (;;) {
		osMutexAcquire(imuDataMutexHandle, osWaitForever); // aquire imuData mutex before reading complementary pitch
		float error = 0 - pitches.comp_pitch; 				// get error (setpoint is 0 degrees)
		osMutexRelease(imuDataMutexHandle);

		// Robot is laying on its side - kill motors, reset variables, and skip cycle
		if (abs(error) >= 40) {
			set_motor_duty_cycle(&left_motor, 0);
			set_motor_duty_cycle(&right_motor, 0);
			last_tick = osKernelGetTickCount(); // reset last tick so that the integral sum doesnt get out of control
			integralSum = 0;
			continue;
		}

		// Manage time variables
		uint32_t current_tick = osKernelGetTickCount(); // initialize starting tick
		float dt = (float) (current_tick - last_tick) / (float) TICKS_PER_SECOND;
		last_tick = current_tick;

		// Calculate p-error
		float p_out = kp * (error);

		// Calculate i-error
		// *** IMPORTANT : Might need to clamp the integral sum to prevent huge corrections when first placing robot down ***
		integralSum += error * dt;
		float i_out = ki * (integralSum);

		// Calculate d-error
		float d_out = 0.0f;
		if (dt > 0) { // protect from divide-by-zero error
			d_out = kd * ((error - prev_error) / dt) / D_OUT_SCALER;
		}
//		float d_out_filtered = (prev_bias * d_out_filtered_prev) + ((1 - prev_bias) * d_out);
//		d_out_filtered_prev = d_out_filtered;

		// Final calculation
		float output = p_out + i_out + d_out;

		prev_error = error;

		set_motor_duty_cycle(&left_motor, output);
		set_motor_duty_cycle(&right_motor, output);

		osDelay(10);
	}
	/* USER CODE END selfBalanceTask */
}

void coefficientPollingTask(void *argument) {
	/* USER CODE BEGIN coefficientPollingTask */
	osMessageQueueReset(uartRxQueueHandle);

	/* Infinite loop */
	for (;;) {
		char queue_byte;
		osStatus_t status = osMessageQueueGet(uartRxQueueHandle, &queue_byte, NULL, osWaitForever);

		// Echo the character back to the terminal
		HAL_UART_Transmit(&huart2, (uint8_t*) &queue_byte, 1, 10);

		if (status == osOK) {
			// This logic now uses the correct global buffer that the ISR writes to
			uart_rx_buffer[uart_rx_buffer_index++] = queue_byte;

			if (queue_byte == '\r') { // Use carriage return as the submission character
				uart_rx_buffer[uart_rx_buffer_index - 1] = '\0'; // Null-terminate the string

				char cmd_type = uart_rx_buffer[0];
				char cmd_value_buffer[4];
				int cmd_value_buffer_size = sizeof(cmd_value_buffer) / sizeof(cmd_value_buffer[0]);
				strncpy(cmd_value_buffer, &uart_rx_buffer[1], COEFFICIENT_PERCISION);
				cmd_value_buffer[cmd_value_buffer_size - 1] = '\0';

				// Reset buffer for next command
				memset(uart_rx_buffer, 0, uart_rx_buffer_size);
				uart_rx_buffer_index = 0;

				int cmd_value = atoi(cmd_value_buffer);
				if (cmd_value < 0)
					cmd_value = 0;
				float cmd_value_f = ((float) cmd_value / 100.0f);

				char print_buffer[64];
				switch (cmd_type) {
				case 'p':
				case 'P':
					kp = cmd_value_f;
					sprintf(print_buffer, "\r\nSet Proportional (kp) to 0.%03d\r\n", cmd_value);
					uart_print(print_buffer);
					break;
				case 'i':
				case 'I':
					ki = cmd_value_f;
					sprintf(print_buffer, "\r\nSet Integral (ki) to 0.%03d\r\n", cmd_value);
					uart_print(print_buffer);
					break;
				case 'd':
				case 'D':
					kd = cmd_value_f;
					sprintf(print_buffer, "\r\nSet Derivative (kd) to 0.%03d\r\n", cmd_value);
					uart_print(print_buffer);
					break;
				default:
					uart_print("\r\nInvalid command. Use 'p', 'i', or 'd'.\r\n");
					break;
				}
			} else if (uart_rx_buffer_index >= uart_rx_buffer_size - 1) {
				// Buffer is full but no carriage return, reset to prevent overflow
				uart_print("\r\nBuffer full, clearing. Please re-enter command.\r\n");
				memset(uart_rx_buffer, 0, uart_rx_buffer_size);
				uart_rx_buffer_index = 0;
			}
		}
		osDelay(1);
	}
	/* USER CODE END coefficientPollingTask */
}

void HAL_TIM_PeriodElapsedCallback(TIM_HandleTypeDef *htim) {
	if (htim->Instance == TIM1) {
		HAL_IncTick();
	}
}

void Error_Handler(void) {
	/* USER CODE BEGIN Error_Handler_Debug */
	char error_buffer[256];
	sprintf(error_buffer, "[FATAL ERROR]: Code %d at %s:%d", g_error_code, g_error_file,
			g_error_line);
	__disable_irq();
	while (1) {
	}
	/* USER CODE END Error_Handler_Debug */
}

#ifdef  USE_FULL_ASSERT
/**
  * @brief  Reports the name of the source file and the source line number
  *         where the assert_param error has occurred.
  * @param  file: pointer to the source file name
  * @param  line: assert_param error line source number
  * @retval None
  */
void assert_failed(uint8_t *file, uint32_t line)
{
  /* USER CODE BEGIN 6 */
  /* User can add his own implementation to report the file name and line
     number, ex: printf("Wrong parameters value: file %s on line %d\r\n", file,
     line) */
  /* USER CODE END 6 */
}
#endif /* USE_FULL_ASSERT */

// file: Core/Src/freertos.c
/* USER CODE BEGIN Header */
/**
  ******************************************************************************
  * File Name          : freertos.c
  * Description        : Code for freertos applications
  ******************************************************************************
  * @attention
  *
  * Copyright (c) 2025 STMicroelectronics.
  * All rights reserved.
  *
  * This software is licensed under terms that can be found in the LICENSE file
  * in the root directory of this software component.
  * If no LICENSE file comes with this software, it is provided AS-IS.
  *
  ******************************************************************************
  */
/* USER CODE END Header */

#include "FreeRTOS.h"
#include "task.h"
#include "main.h"

/* Hook prototypes */
void vApplicationStackOverflowHook(xTaskHandle xTask, signed char *pcTaskName);
void vApplicationMallocFailedHook(void);

/* USER CODE BEGIN 4 */
void vApplicationStackOverflowHook(xTaskHandle xTask, signed char *pcTaskName)
{
   /* Run time stack overflow checking is performed if
   configCHECK_FOR_STACK_OVERFLOW is defined to 1 or 2. This hook function is
   called if a stack overflow is detected. */
	__disable_irq();
	for(;;);
}
/* USER CODE END 4 */

/* USER CODE BEGIN 5 */
void vApplicationMallocFailedHook(void)
{
   /* vApplicationMallocFailedHook() will only be called if
   configUSE_MALLOC_FAILED_HOOK is set to 1 in FreeRTOSConfig.h. It is a hook
   function that will get called if a call to pvPortMalloc() fails.
   pvPortMalloc() is called internally by the kernel whenever a task, queue,
   timer or semaphore is created. It is also called by various parts of the
   demo application. If heap_1.c or heap_2.c are used, then the size of the
   heap available to pvPortMalloc() is defined by configTOTAL_HEAP_SIZE in
   FreeRTOSConfig.h, and the xPortGetFreeHeapSize() API function can be used
   to query the size of free heap space that remains (although it does not
   provide information on how the remaining heap might be fragmented). */
}
/* USER CODE END 5 */
